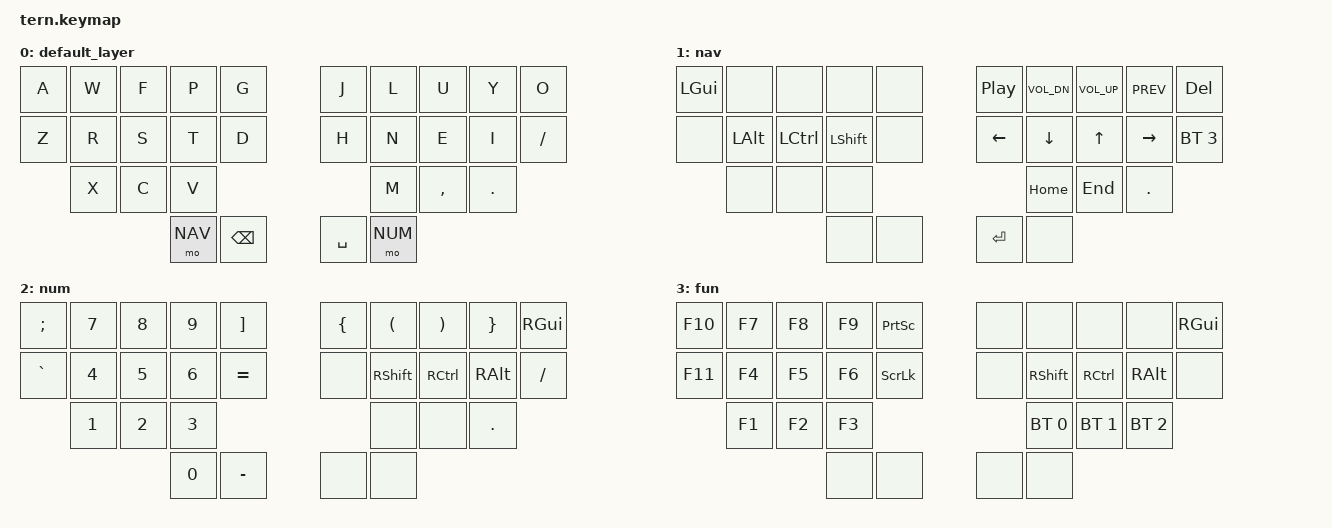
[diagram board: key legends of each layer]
/*
 * Copyright (c) 2020 The ZMK Contributors
 *
 * SPDX-License-Identifier: MIT
 */

#include <behaviors.dtsi>
#include <dt-bindings/zmk/keys.h>
#include <dt-bindings/zmk/bt.h>

#define             BASE    0
#define             NAV     1
#define             NUM     2
#define             FUN     3

#define VOL_U       &kp C_VOL_UP
#define VOL_D       &kp C_VOL_DN
#define PB          &kp PAUSE_BREAK

#define BT0         &bt BT_SEL 0
#define BT1         &bt BT_SEL 1
#define BT2         &bt BT_SEL 2
#define BT3         &bt BT_SEL 3

#define SK(KEY)     &nk KEY KEY

&kscan0 {
    debounce-period  = <12>;
};

&caps_word {
    continue-list = <UNDERSCORE MINUS BACKSPACE>;
};

/ {
        combos {
            compatible = "zmk,combos";

            combo_esc_num {
                timeout-ms = <30>;
                key-positions = <11 12>;
                bindings = <&kp ESC>;
                layers = <NUM NAV>;
            };

            combo_esc {
                timeout-ms = <30>;
                key-positions = <12 21>;
                bindings = <&kp ESC>;
                layers = <BASE>;
            };

            combo_tab_num {
                timeout-ms = <30>;
                key-positions = <12 13>;
                bindings = <&kp TAB>;
                layers = <NUM NAV>;
            };

            combo_tab {
                timeout-ms = <75>;
                key-positions = <13 22>;
                bindings = <&kp TAB>;
                layers = <BASE>;
            };

            combo_ret {
                timeout-ms = <30>;
                key-positions = <17 18>;
                bindings = <&kp RET>;
                layers = <NAV NUM FUN>;
            };

            combo_ret_base {
                timeout-ms = <30>;
                key-positions = <17 18>;
                bindings = <&kp RET>;
                layers = <BASE>;
                require-prior-idle-ms = <150>;
            };

            combo_top_lparen {
                timeout-ms = <30>;
                key-positions = <1 11>;
                bindings = <&kp LPAR>;
                layers = <BASE>;
            };

            combo_top_lbrc {
                timeout-ms = <30>;
                key-positions = <2 12>;
                bindings = <&kp LBRC>;
                layers = <BASE>;
            };

            combo_top_lbkt {
                timeout-ms = <30>;
                key-positions = <3 13>;
                bindings = <&kp LBKT>;
                layers = <BASE>;
            };

            combo_top_rbkt {
                timeout-ms = <30>;
                key-positions = <6 16>;
                bindings = <&kp RBKT>;
                layers = <BASE>;
            };

            combo_top_rbrc {
                timeout-ms = <30>;
                key-positions = <7 17>;
                bindings = <&kp RBRC>;
                layers = <BASE>;
            };

            combo_top_rparen {
                timeout-ms = <30>;
                key-positions = <8 18>;
                bindings = <&kp RPAR>;
                layers = <BASE>;
            };

            combo_top_dqt {
                timeout-ms = <30>;
                key-positions = <9 19>;
                bindings = <&kp DQT>;
                layers = <BASE>;
            };

            combo_caps_word {
                timeout-ms = <30>;
                key-positions = <4 14>;
                bindings = <&caps_word>;
                layers = <NUM>;
            };

            combo_plus {
                timeout-ms = <30>;
                key-positions = <4 14>;
                bindings = <&kp PLUS>;
                layers = <BASE>;
            };

            // layer combos
            combo_fun {
                timeout-ms = <30>;
                key-positions = <28 29>;
                bindings = <&mo FUN>;
                layers = <BASE>;
            };

            // letter/symbols
            combo_k {
                timeout-ms = <75>;
                key-positions = <23 24>;
                bindings = <&kp K>;
                layers = <BASE>;
                slow-release;
            };
            combo_bt_clr {
                timeout-ms = <30>;
                key-positions = <23 24>;
                bindings = <&bt BT_CLR>;
                layers = <FUN>;
            };

            // q position
            combo_q {
                timeout-ms = <75>;
                key-positions = <20 21>;
                bindings = <&kp Q>;
                layers = <BASE>;
            };
            combo_q_outer {
                timeout-ms = <50>;
                key-positions = <0 10>;
                bindings = <&kp Q>;
                layers = <BASE>;
            };
            combo_lbkt {
                timeout-ms = <30>;
                key-positions = <1 2>;
                bindings = <&kp LBKT>;
                layers = <NUM>;
            };
            combo_f12 {
                timeout-ms = <30>;
                key-positions = <20 21>;
                bindings = <&kp F12>;
                layers = <FUN>;
            };

            // single quote position combos
            combo_sqt {
                timeout-ms = <50>;
                key-positions = <24 25>;
                bindings = <&kp SQT>;
                layers = <BASE>;
            };
            combo_bt3 {
                timeout-ms = <30>;
                key-positions = <24 25>;
                bindings = <&bt BT_SEL 3>;
                layers = <FUN>;
            };

            // B position combos
            combo_b {
                timeout-ms = <75>;
                key-positions = <21 22>;
                bindings = <&kp B>;
                layers = <BASE>;
            };
            combo_b_bslh {
                timeout-ms = <75>;
                key-positions = <21 22>;
                bindings = <&kp BSLH>;
                layers = <NUM>;
            };
            combo_b_pause_break {
                timeout-ms = <30>;
                key-positions = <21 22>;
                bindings = <&kp PAUSE_BREAK>;
                layers = <FUN>;
            };
        };

        behaviors { };

        keymap {
            compatible = "zmk,keymap";

            default_layer {
                bindings = <
                    &kp A       &kp W       &kp F       &kp P       &kp G       /**/ /**/       &kp J       &kp L       &kp U       &kp Y       &kp O
                    &kp Z       &kp R       &kp S       &kp T       &kp D       /**/ /**/       &kp H       &kp N       &kp E       &kp I       &kp SLASH
                                &kp X       &kp C       &kp V       /*b*/       /**/ /**/       /*k*/       &kp M       &kp COMMA   &kp DOT
                                                        &mo NAV     &kp BSPC                    &kp SPC     &mo NUM
                >;
                };

                nav {
                bindings = <
                    &kp LGUI    &none       &none       &none       &none       /**/ /**/       &kp C_PP    VOL_D       VOL_U       &kp C_PREV  &kp DEL
                    &none       &kp LALT    &kp LCTRL   &kp LSHFT   &none       /**/ /**/       &kp LEFT    &kp DOWN    &kp UP      &kp RIGHT   BT3
                                &none       &none       &none                   /**/ /**/                   &kp HOME    &kp END     &kp DOT
                                                        &none       &none                       &kp RET     &none
                >;
                };

                num {
                bindings = <
                    &kp SEMI    &kp N7      &kp N8      &kp N9      &kp RBKT    /**/ /**/       &kp LBRC    &kp LPAR    &kp RPAR    &kp RBRC    &kp RGUI
                    &kp GRAVE   &kp N4      &kp N5      &kp N6      &kp EQUAL   /**/ /**/       &none       &kp RSHFT   &kp RCTRL   &kp RALT    &kp SLASH
                                &kp N1      &kp N2      &kp N3      /*BSLH*/    /**/ /**/                   &none       &none       &kp DOT
                                                        &kp N0      &kp MINUS                   &none       &none
                >;
                };	

                fun {
                bindings = <
                    &kp F10     &kp F7      &kp F8      &kp F9      &kp PSCRN   /**/ /**/       &none       &none       &none       &none       &kp RGUI
                    &kp F11     &kp F4      &kp F5      &kp F6      &kp SLCK    /**/ /**/       &none       &kp RSHFT   &kp RCTRL   &kp RALT    &none
                                &kp F1      &kp F2      &kp F3      /*PB*/      /**/ /**/       /*BT_CLR*/  BT0         BT1         BT2         /*BT3*/
                                                        &none       &none                       &none       &none
                >;
                };

            };
};
